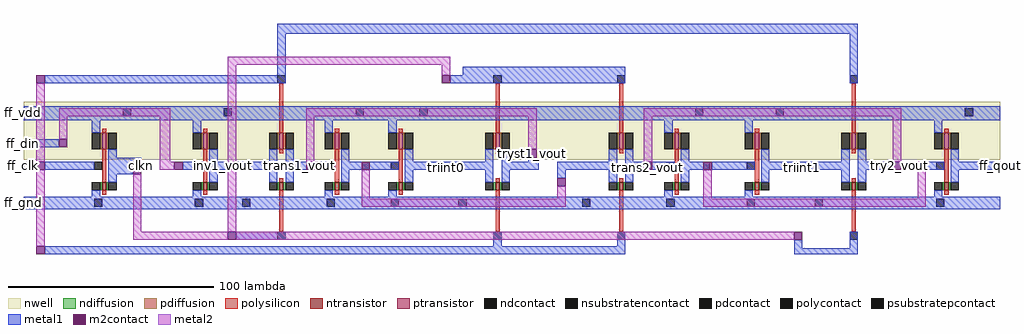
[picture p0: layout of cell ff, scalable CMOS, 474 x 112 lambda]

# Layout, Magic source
magic
tech scmos
<< nwell >>
rect -28 24 446 52
<< metal1 >>
rect 95 85 377 90
rect 95 65 99 85
rect 185 65 264 69
rect 373 65 377 85
rect -18 61 99 65
rect 179 61 264 65
rect -28 43 446 50
rect -28 30 -11 34
rect 17 23 29 25
rect 217 23 221 25
rect -28 19 -22 23
rect -18 19 6 23
rect 13 21 29 23
rect 13 19 25 21
rect 17 17 25 19
rect 49 19 59 23
rect 62 19 95 23
rect 99 19 109 23
rect 113 19 123 23
rect 126 19 136 23
rect 140 19 154 23
rect 157 19 200 23
rect 204 19 222 23
rect 231 19 260 23
rect 264 19 273 23
rect 277 19 288 23
rect 291 19 302 23
rect 306 19 327 23
rect 330 19 373 23
rect 377 19 394 23
rect 410 19 419 23
rect 422 19 446 23
rect 231 15 235 19
rect -28 0 446 6
rect 75 -15 99 -11
rect 200 -18 204 -15
rect 260 -18 264 -11
rect -18 -22 264 -18
rect 346 -19 350 -15
rect 373 -19 377 -15
rect 346 -22 377 -19
<< metal2 >>
rect 71 70 179 74
rect -22 23 -18 61
rect -11 45 43 49
rect -11 34 -7 45
rect 38 23 43 45
rect -22 -18 -18 19
rect 38 19 45 23
rect 25 -11 29 17
rect 71 -11 75 70
rect 175 65 179 70
rect 109 45 221 49
rect 109 23 113 45
rect 217 29 221 45
rect 273 45 398 49
rect 273 23 277 45
rect 394 23 398 45
rect 136 5 140 19
rect 231 5 235 11
rect 136 1 235 5
rect 302 5 306 19
rect 406 5 410 19
rect 302 1 410 5
rect 25 -15 71 -11
rect 75 -15 346 -11
<< m2contact >>
rect -22 61 -18 65
rect 175 61 179 65
rect -11 30 -7 34
rect 217 25 221 29
rect -22 19 -18 23
rect 25 17 29 21
rect 45 19 49 23
rect 109 19 113 23
rect 136 19 140 23
rect 273 19 277 23
rect 302 19 306 23
rect 394 19 398 23
rect 406 19 410 23
rect 231 11 235 15
rect 71 -15 75 -11
rect -22 -22 -18 -18
rect 346 -15 350 -11
use invertor  invertor_4 /home/skanda
transform 1 0 415 0 1 9
box -6 -9 21 43
use tristate  tristate_1 /home/skanda
transform 1 0 354 0 1 -15
box -41 -4 41 84
use invertor  invertor_3
transform 1 0 284 0 1 9
box -6 -9 21 43
use transgate  transgate_1 /home/skanda
transform 1 0 257 0 1 9
box -16 -24 21 56
use tristate  tristate_0
transform 1 0 181 0 1 -15
box -41 -4 41 84
use invertor  invertor_2
transform 1 0 119 0 1 9
box -6 -9 21 43
use transgate  transgate_0
transform 1 0 92 0 1 9
box -16 -24 21 56
use invertor  invertor_1
transform 1 0 55 0 1 9
box -6 -9 21 43
use invertor  invertor_0
transform 1 0 6 0 1 9
box -6 -9 21 43
<< labels >>
rlabel metal1 69 21 69 21 1 inv1_vout
rlabel metal1 106 21 106 21 1 trans1_vout
rlabel m2contact 219 27 219 27 1 tryst1_vout
rlabel m2contact 138 21 138 21 1 inv2_vout
rlabel m2contact 275 20 275 20 1 trans2_vout
rlabel m2contact 304 21 304 21 1 inv3_vout
rlabel m2contact 397 21 397 21 1 try2_vout
rlabel m2contact 29 21 29 21 1 clkn
rlabel metal1 177 20 177 20 1 triint0
rlabel metal1 350 20 350 20 1 triint1
rlabel metal1 -28 32 -28 32 3 ff_din
port 2 e
rlabel metal1 -28 21 -28 21 3 ff_clk
port 1 e
rlabel metal1 -28 3 -28 3 3 ff_gnd
port 5 e
rlabel metal1 446 21 446 21 7 ff_qout
port 3 w
rlabel metal1 -28 47 -28 47 3 ff_vdd
port 4 e
<< end >>

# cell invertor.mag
magic
tech scmos
<< nwell >>
rect -6 15 21 43
<< polysilicon >>
rect 4 28 6 30
rect 4 4 6 20
rect 4 -2 6 0
<< ndiffusion >>
rect 3 0 4 4
rect 6 0 7 4
<< pdiffusion >>
rect 3 20 4 28
rect 6 20 7 28
<< metal1 >>
rect -6 40 21 41
rect -6 36 14 40
rect 18 36 21 40
rect -6 34 21 36
rect -1 28 3 34
rect 7 14 11 20
rect -6 10 0 14
rect 7 10 21 14
rect 7 4 11 10
rect -1 -3 3 0
rect -6 -4 21 -3
rect -6 -8 0 -4
rect 4 -8 21 -4
rect -6 -9 21 -8
<< ntransistor >>
rect 4 0 6 4
<< ptransistor >>
rect 4 20 6 28
<< polycontact >>
rect 0 10 4 14
<< ndcontact >>
rect -1 0 3 4
rect 7 0 11 4
<< pdcontact >>
rect -1 20 3 28
rect 7 20 11 28
<< psubstratepcontact >>
rect 0 -8 4 -4
<< nsubstratencontact >>
rect 14 36 18 40
<< labels >>
rlabel metal1 -6 38 -6 38 4 inv_vdd
port 1 se
rlabel metal1 -6 12 -6 12 3 inv_vin
port 2 e
rlabel metal1 21 12 21 12 7 inv_vout
port 3 w
rlabel metal1 -6 -6 -6 -6 2 inv_gnd
port 4 ne
<< end >>

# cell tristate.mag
magic
tech scmos
<< nwell >>
rect -41 39 41 67
<< metal1 >>
rect 19 76 23 84
rect -41 58 41 65
rect -41 34 -31 38
rect -24 34 19 38
rect 23 34 41 38
rect -41 15 41 21
rect 19 -4 23 4
use invertor  invertor_0 /home/skanda
transform 1 0 -31 0 1 24
box -6 -9 21 43
use transgate  transgate_0 /home/skanda
transform 1 0 16 0 1 24
box -16 -24 21 56
<< labels >>
rlabel metal1 41 36 41 36 7 tri_vout
port 2 w
rlabel metal1 -41 36 -41 36 3 tri_vin
port 1 e
rlabel metal1 -41 62 -41 62 3 tri_vdd
port 5 e
rlabel metal1 -4 36 -4 36 1 tri_int
rlabel metal1 21 84 21 84 5 tri_clkp
port 3 s
rlabel metal1 21 -4 21 -4 1 tri_clkn
port 4 n
rlabel metal1 -41 18 -41 18 3 tri_gnd
port 6 e
<< end >>

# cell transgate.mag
magic
tech scmos
<< nwell >>
rect -16 15 21 43
<< polysilicon >>
rect 4 28 6 52
rect 4 18 6 20
rect 4 4 6 6
rect 4 -20 6 0
<< ndiffusion >>
rect 3 0 4 4
rect 6 0 7 4
<< pdiffusion >>
rect 3 20 4 28
rect 6 20 7 28
<< metal1 >>
rect -16 34 21 41
rect -1 14 3 20
rect -16 10 3 14
rect -1 4 3 10
rect 7 14 11 20
rect 7 10 21 14
rect 7 4 11 10
rect -16 -4 21 -3
rect -16 -8 -14 -4
rect -10 -8 21 -4
rect -16 -9 21 -8
<< ntransistor >>
rect 4 0 6 4
<< ptransistor >>
rect 4 20 6 28
<< polycontact >>
rect 3 52 7 56
rect 3 -24 7 -20
<< ndcontact >>
rect -1 0 3 4
rect 7 0 11 4
<< pdcontact >>
rect -1 20 3 28
rect 7 20 11 28
<< psubstratepcontact >>
rect -14 -8 -10 -4
<< labels >>
rlabel polycontact 5 56 5 56 5 trans_clkp
port 1 s
rlabel metal1 -16 12 -16 12 3 trans_vin
port 2 e
rlabel polycontact 5 -24 5 -24 1 trans_clkn
port 3 n
rlabel metal1 21 12 21 12 7 trans_vout
port 4 w
rlabel metal1 -16 -6 -16 -6 3 trans_gnd
port 6 e
rlabel metal1 -16 37 -16 37 3 trans_vdd
port 5 e
<< end >>
